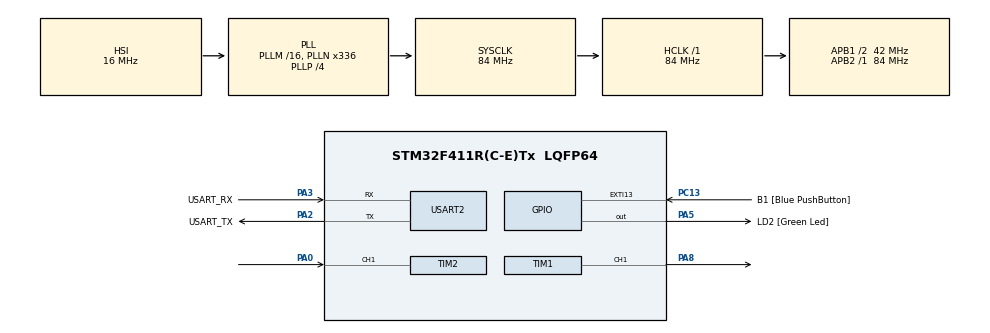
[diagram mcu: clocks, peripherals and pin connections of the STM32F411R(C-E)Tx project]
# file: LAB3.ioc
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Dma.Request0=TIM2_CH1
Dma.TIM2_CH1.0.Direction=DMA_PERIPH_TO_MEMORY
Dma.TIM2_CH1.0.FIFOMode=DMA_FIFOMODE_DISABLE
Dma.TIM2_CH1.0.Instance=DMA1_Stream5
Dma.TIM2_CH1.0.MemDataAlignment=DMA_MDATAALIGN_WORD
Dma.TIM2_CH1.0.MemInc=DMA_MINC_ENABLE
Dma.TIM2_CH1.0.Mode=DMA_CIRCULAR
Dma.TIM2_CH1.0.PeriphDataAlignment=DMA_PDATAALIGN_WORD
Dma.TIM2_CH1.0.PeriphInc=DMA_PINC_DISABLE
Dma.TIM2_CH1.0.Priority=DMA_PRIORITY_LOW
Mcu.Family=STM32F4
Mcu.Name=STM32F411R(C-E)Tx
Mcu.Package=LQFP64
NVIC.DMA1_Stream5_IRQn=true\:0\:0\:false\:false\:true\:false\:true\:true
NVIC.PriorityGroup=NVIC_PRIORITYGROUP_0
PA0-WKUP.Signal=S_TIM2_CH1_ETR
PA13.GPIO_Label=TMS
PA13.Mode=Serial_Wire
PA13.Signal=SYS_JTMS-SWDIO
PA14.GPIO_Label=TCK
PA14.Mode=Serial_Wire
PA14.Signal=SYS_JTCK-SWCLK
PA2.GPIO_Label=USART_TX
PA2.Mode=Asynchronous
PA2.Signal=USART2_TX
PA3.GPIO_Label=USART_RX
PA3.Mode=Asynchronous
PA3.Signal=USART2_RX
PA5.GPIO_Label=LD2 [Green Led]
PA5.Signal=GPIO_Output
PA8.Signal=S_TIM1_CH1
PB3.GPIO_Label=SWO
PB3.Signal=SYS_JTDO-SWO
PC13-ANTI_TAMP.GPIO_Label=B1 [Blue PushButton]
PC13-ANTI_TAMP.GPIO_ModeDefaultEXTI=GPIO_MODE_IT_FALLING
PC13-ANTI_TAMP.Signal=GPXTI13
PC14-OSC32_IN.Mode=LSE-External-Oscillator
PC14-OSC32_IN.Signal=RCC_OSC32_IN
PC15-OSC32_OUT.Mode=LSE-External-Oscillator
PC15-OSC32_OUT.Signal=RCC_OSC32_OUT
PH0\ -\ OSC_IN.Mode=HSE-External-Clock-Source
PH0\ -\ OSC_IN.Signal=RCC_OSC_IN
PH1\ -\ OSC_OUT.Mode=HSE-External-Clock-Source
PH1\ -\ OSC_OUT.Signal=RCC_OSC_OUT
ProjectManager.HeapSize=0x200
ProjectManager.StackSize=0x400
ProjectManager.TargetToolchain=STM32CubeIDE
RCC.48MHZClocksFreq_Value=84000000
RCC.AHBFreq_Value=84000000
RCC.APB1CLKDivider=RCC_HCLK_DIV2
RCC.APB1Freq_Value=42000000
RCC.APB1TimFreq_Value=84000000
RCC.APB2Freq_Value=84000000
RCC.APB2TimFreq_Value=84000000
RCC.CortexFreq_Value=84000000
RCC.FLatency-AdvancedSettings=FLASH_LATENCY_2
RCC.HCLKFreq_Value=84000000
RCC.HSE_VALUE=8000000
RCC.HSI_VALUE=16000000
RCC.PLLN=336
RCC.PLLP=RCC_PLLP_DIV4
RCC.SYSCLKFreq_VALUE=84000000
RCC.SYSCLKSource=RCC_SYSCLKSOURCE_PLLCLK
RCC.VCOOutputFreq_Value=336000000
SH.S_TIM1_CH1.0=TIM1_CH1,PWM Generation1 CH1
SH.S_TIM2_CH1_ETR.0=TIM2_CH1,Input_Capture1_from_TI1
TIM1.Channel-PWM\ Generation1\ CH1=TIM_CHANNEL_1
TIM1.Period=1000
TIM1.Prescaler=83
TIM1.Pulse-PWM\ Generation1\ CH1=500
TIM2.Channel-Input_Capture1_from_TI1=TIM_CHANNEL_1
TIM2.Prescaler=83
USART2.VirtualMode=VM_ASYNC
VP_TIM1_VS_ClockSourceINT.Mode=Internal
VP_TIM2_VS_ClockSourceINT.Mode=Internal
board=NUCLEO-F411RE

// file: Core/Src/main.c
/* USER CODE BEGIN Header */
/**
  ******************************************************************************
  * @file           : main.c
  * @brief          : Main program body
  ******************************************************************************
  * @attention
  *
  * Copyright (c) 2023 STMicroelectronics.
  * All rights reserved.
  *
  * This software is licensed under terms that can be found in the LICENSE file
  * in the root directory of this software component.
  * If no LICENSE file comes with this software, it is provided AS-IS.
  *
  ******************************************************************************
  */
/* USER CODE END Header */
#include "main.h"

/* USER CODE BEGIN Includes */
#define IC_BUFFER_SIZE 20
/* USER CODE END Includes */

TIM_HandleTypeDef htim1;
TIM_HandleTypeDef htim2;
DMA_HandleTypeDef hdma_tim2_ch1;

UART_HandleTypeDef huart2;

/* USER CODE BEGIN PV */
uint32_t InputCaptureBuffer[IC_BUFFER_SIZE];
float averageRisingedgePeriod;
uint32_t duty = 0;
uint32_t MotorSetDuty = 0;
uint32_t MotorReadRPM = 0;
uint32_t MotorSetRPM = 0;
uint32_t MotorControlEnable = 0;
/* USER CODE END PV */

void SystemClock_Config(void);
static void MX_GPIO_Init(void);
static void MX_DMA_Init(void);
static void MX_USART2_UART_Init(void);
static void MX_TIM2_Init(void);
static void MX_TIM1_Init(void);
/* USER CODE BEGIN PFP */
float IC_Calc_Period();
/* USER CODE END PFP */

int main(void)
{

  /* MCU Configuration--------------------------------------------------------*/

  /* Reset of all peripherals, Initializes the Flash interface and the Systick. */
  HAL_Init();

  /* Configure the system clock */
  SystemClock_Config();

  /* Initialize all configured peripherals */
  MX_GPIO_Init();
  MX_DMA_Init();
  MX_USART2_UART_Init();
  MX_TIM2_Init();
  MX_TIM1_Init();
  /* USER CODE BEGIN 2 */
HAL_TIM_Base_Start(&htim2);
HAL_TIM_IC_Start_DMA(&htim2, TIM_CHANNEL_1, InputCaptureBuffer, IC_BUFFER_SIZE);

HAL_TIM_Base_Start(&htim1);
HAL_TIM_PWM_Start(&htim1, TIM_CHANNEL_1);
  /* USER CODE END 2 */

  /* Infinite loop */
  while (1)
  {

    /* USER CODE BEGIN 3 */
	  static uint32_t timestamp = 0;
	  if (HAL_GetTick()>= timestamp)
	  {
		  timestamp = HAL_GetTick()+500;
		  averageRisingedgePeriod = IC_Calc_Period();

		  MotorReadRPM = 60*1000000/(64*averageRisingedgePeriod*12);
		  if (MotorControlEnable == 0)
		  {
			  duty = MotorSetDuty*10;
			  if (duty > 1000)
			  {
				  duty = 1000;
			  }
			  __HAL_TIM_SET_COMPARE(&htim1, TIM_CHANNEL_1,duty);
		  }
		  else if (MotorControlEnable == 1)
		  {
			  if(MotorReadRPM < MotorSetRPM)
			  {
				  duty = duty + 20;
				  if (duty > 1000)
				  {
					  duty = 1000;
				  }
				  __HAL_TIM_SET_COMPARE(&htim1, TIM_CHANNEL_1,duty);
			  }
			  else if(MotorReadRPM > MotorSetRPM)
			  {
				  duty = duty - 20;
				  if (duty > 1000)
				  {
					  duty = 1000;
				  }
				  __HAL_TIM_SET_COMPARE(&htim1, TIM_CHANNEL_1,duty);
			  }
		  }

	  }
  }
  /* USER CODE END 3 */
}

void SystemClock_Config(void)
{
  RCC_OscInitTypeDef RCC_OscInitStruct = {0};
  RCC_ClkInitTypeDef RCC_ClkInitStruct = {0};

  /** Configure the main internal regulator output voltage
  */
  __HAL_RCC_PWR_CLK_ENABLE();
  __HAL_PWR_VOLTAGESCALING_CONFIG(PWR_REGULATOR_VOLTAGE_SCALE1);

  /** Initializes the RCC Oscillators according to the specified parameters
  * in the RCC_OscInitTypeDef structure.
  */
  RCC_OscInitStruct.OscillatorType = RCC_OSCILLATORTYPE_HSI;
  RCC_OscInitStruct.HSIState = RCC_HSI_ON;
  RCC_OscInitStruct.HSICalibrationValue = RCC_HSICALIBRATION_DEFAULT;
  RCC_OscInitStruct.PLL.PLLState = RCC_PLL_ON;
  RCC_OscInitStruct.PLL.PLLSource = RCC_PLLSOURCE_HSI;
  RCC_OscInitStruct.PLL.PLLM = 16;
  RCC_OscInitStruct.PLL.PLLN = 336;
  RCC_OscInitStruct.PLL.PLLP = RCC_PLLP_DIV4;
  RCC_OscInitStruct.PLL.PLLQ = 4;
  if (HAL_RCC_OscConfig(&RCC_OscInitStruct) != HAL_OK)
  {
    Error_Handler();
  }

  /** Initializes the CPU, AHB and APB buses clocks
  */
  RCC_ClkInitStruct.ClockType = RCC_CLOCKTYPE_HCLK|RCC_CLOCKTYPE_SYSCLK
                              |RCC_CLOCKTYPE_PCLK1|RCC_CLOCKTYPE_PCLK2;
  RCC_ClkInitStruct.SYSCLKSource = RCC_SYSCLKSOURCE_PLLCLK;
  RCC_ClkInitStruct.AHBCLKDivider = RCC_SYSCLK_DIV1;
  RCC_ClkInitStruct.APB1CLKDivider = RCC_HCLK_DIV2;
  RCC_ClkInitStruct.APB2CLKDivider = RCC_HCLK_DIV1;

  if (HAL_RCC_ClockConfig(&RCC_ClkInitStruct, FLASH_LATENCY_2) != HAL_OK)
  {
    Error_Handler();
  }
}

static void MX_TIM1_Init(void)
{

  TIM_ClockConfigTypeDef sClockSourceConfig = {0};
  TIM_MasterConfigTypeDef sMasterConfig = {0};
  TIM_OC_InitTypeDef sConfigOC = {0};
  TIM_BreakDeadTimeConfigTypeDef sBreakDeadTimeConfig = {0};

  htim1.Instance = TIM1;
  htim1.Init.Prescaler = 83;
  htim1.Init.CounterMode = TIM_COUNTERMODE_UP;
  htim1.Init.Period = 1000;
  htim1.Init.ClockDivision = TIM_CLOCKDIVISION_DIV1;
  htim1.Init.RepetitionCounter = 0;
  htim1.Init.AutoReloadPreload = TIM_AUTORELOAD_PRELOAD_DISABLE;
  if (HAL_TIM_Base_Init(&htim1) != HAL_OK)
  {
    Error_Handler();
  }
  sClockSourceConfig.ClockSource = TIM_CLOCKSOURCE_INTERNAL;
  if (HAL_TIM_ConfigClockSource(&htim1, &sClockSourceConfig) != HAL_OK)
  {
    Error_Handler();
  }
  if (HAL_TIM_PWM_Init(&htim1) != HAL_OK)
  {
    Error_Handler();
  }
  sMasterConfig.MasterOutputTrigger = TIM_TRGO_RESET;
  sMasterConfig.MasterSlaveMode = TIM_MASTERSLAVEMODE_DISABLE;
  if (HAL_TIMEx_MasterConfigSynchronization(&htim1, &sMasterConfig) != HAL_OK)
  {
    Error_Handler();
  }
  sConfigOC.OCMode = TIM_OCMODE_PWM1;
  sConfigOC.Pulse = 500;
  sConfigOC.OCPolarity = TIM_OCPOLARITY_HIGH;
  sConfigOC.OCNPolarity = TIM_OCNPOLARITY_HIGH;
  sConfigOC.OCFastMode = TIM_OCFAST_DISABLE;
  sConfigOC.OCIdleState = TIM_OCIDLESTATE_RESET;
  sConfigOC.OCNIdleState = TIM_OCNIDLESTATE_RESET;
  if (HAL_TIM_PWM_ConfigChannel(&htim1, &sConfigOC, TIM_CHANNEL_1) != HAL_OK)
  {
    Error_Handler();
  }
  sBreakDeadTimeConfig.OffStateRunMode = TIM_OSSR_DISABLE;
  sBreakDeadTimeConfig.OffStateIDLEMode = TIM_OSSI_DISABLE;
  sBreakDeadTimeConfig.LockLevel = TIM_LOCKLEVEL_OFF;
  sBreakDeadTimeConfig.DeadTime = 0;
  sBreakDeadTimeConfig.BreakState = TIM_BREAK_DISABLE;
  sBreakDeadTimeConfig.BreakPolarity = TIM_BREAKPOLARITY_HIGH;
  sBreakDeadTimeConfig.AutomaticOutput = TIM_AUTOMATICOUTPUT_DISABLE;
  if (HAL_TIMEx_ConfigBreakDeadTime(&htim1, &sBreakDeadTimeConfig) != HAL_OK)
  {
    Error_Handler();
  }
  HAL_TIM_MspPostInit(&htim1);

}

static void MX_TIM2_Init(void)
{

  TIM_ClockConfigTypeDef sClockSourceConfig = {0};
  TIM_MasterConfigTypeDef sMasterConfig = {0};
  TIM_IC_InitTypeDef sConfigIC = {0};

  htim2.Instance = TIM2;
  htim2.Init.Prescaler = 83;
  htim2.Init.CounterMode = TIM_COUNTERMODE_UP;
  htim2.Init.Period = 4294967295;
  htim2.Init.ClockDivision = TIM_CLOCKDIVISION_DIV1;
  htim2.Init.AutoReloadPreload = TIM_AUTORELOAD_PRELOAD_DISABLE;
  if (HAL_TIM_Base_Init(&htim2) != HAL_OK)
  {
    Error_Handler();
  }
  sClockSourceConfig.ClockSource = TIM_CLOCKSOURCE_INTERNAL;
  if (HAL_TIM_ConfigClockSource(&htim2, &sClockSourceConfig) != HAL_OK)
  {
    Error_Handler();
  }
  if (HAL_TIM_IC_Init(&htim2) != HAL_OK)
  {
    Error_Handler();
  }
  sMasterConfig.MasterOutputTrigger = TIM_TRGO_RESET;
  sMasterConfig.MasterSlaveMode = TIM_MASTERSLAVEMODE_DISABLE;
  if (HAL_TIMEx_MasterConfigSynchronization(&htim2, &sMasterConfig) != HAL_OK)
  {
    Error_Handler();
  }
  sConfigIC.ICPolarity = TIM_INPUTCHANNELPOLARITY_RISING;
  sConfigIC.ICSelection = TIM_ICSELECTION_DIRECTTI;
  sConfigIC.ICPrescaler = TIM_ICPSC_DIV1;
  sConfigIC.ICFilter = 0;
  if (HAL_TIM_IC_ConfigChannel(&htim2, &sConfigIC, TIM_CHANNEL_1) != HAL_OK)
  {
    Error_Handler();
  }

}

static void MX_USART2_UART_Init(void)
{

  huart2.Instance = USART2;
  huart2.Init.BaudRate = 115200;
  huart2.Init.WordLength = UART_WORDLENGTH_8B;
  huart2.Init.StopBits = UART_STOPBITS_1;
  huart2.Init.Parity = UART_PARITY_NONE;
  huart2.Init.Mode = UART_MODE_TX_RX;
  huart2.Init.HwFlowCtl = UART_HWCONTROL_NONE;
  huart2.Init.OverSampling = UART_OVERSAMPLING_16;
  if (HAL_UART_Init(&huart2) != HAL_OK)
  {
    Error_Handler();
  }

}

static void MX_DMA_Init(void)
{

  /* DMA controller clock enable */
  __HAL_RCC_DMA1_CLK_ENABLE();

  /* DMA interrupt init */
  /* DMA1_Stream5_IRQn interrupt configuration */
  HAL_NVIC_SetPriority(DMA1_Stream5_IRQn, 0, 0);
  HAL_NVIC_EnableIRQ(DMA1_Stream5_IRQn);

}

static void MX_GPIO_Init(void)
{
  GPIO_InitTypeDef GPIO_InitStruct = {0};

  /* GPIO Ports Clock Enable */
  __HAL_RCC_GPIOC_CLK_ENABLE();
  __HAL_RCC_GPIOH_CLK_ENABLE();
  __HAL_RCC_GPIOA_CLK_ENABLE();
  __HAL_RCC_GPIOB_CLK_ENABLE();

  /*Configure GPIO pin Output Level */
  HAL_GPIO_WritePin(LD2_GPIO_Port, LD2_Pin, GPIO_PIN_RESET);

  /*Configure GPIO pin : B1_Pin */
  GPIO_InitStruct.Pin = B1_Pin;
  GPIO_InitStruct.Mode = GPIO_MODE_IT_FALLING;
  GPIO_InitStruct.Pull = GPIO_NOPULL;
  HAL_GPIO_Init(B1_GPIO_Port, &GPIO_InitStruct);

  /*Configure GPIO pin : LD2_Pin */
  GPIO_InitStruct.Pin = LD2_Pin;
  GPIO_InitStruct.Mode = GPIO_MODE_OUTPUT_PP;
  GPIO_InitStruct.Pull = GPIO_NOPULL;
  GPIO_InitStruct.Speed = GPIO_SPEED_FREQ_LOW;
  HAL_GPIO_Init(LD2_GPIO_Port, &GPIO_InitStruct);

}

/* USER CODE BEGIN 4 */
float IC_Calc_Period()
{
	uint32_t currentDMAPointer = IC_BUFFER_SIZE - __HAL_DMA_GET_COUNTER((htim2.hdma[1]));
	uint32_t lastValidDMAPointer = (currentDMAPointer-1 + IC_BUFFER_SIZE) % IC_BUFFER_SIZE;
	uint32_t i = (lastValidDMAPointer + IC_BUFFER_SIZE - 6) % IC_BUFFER_SIZE;

	int32_t sumdiff = 0;
	while (i != lastValidDMAPointer)
	{
		uint32_t firstCapture = InputCaptureBuffer[i];
		uint32_t NextCapture = InputCaptureBuffer[(i+1)%IC_BUFFER_SIZE];
		sumdiff += NextCapture - firstCapture;
		i = (i+1) % IC_BUFFER_SIZE;
	}
	return sumdiff / 5.0;
}
/* USER CODE END 4 */

void Error_Handler(void)
{
  __disable_irq();
  while (1)
  {
  }
}
